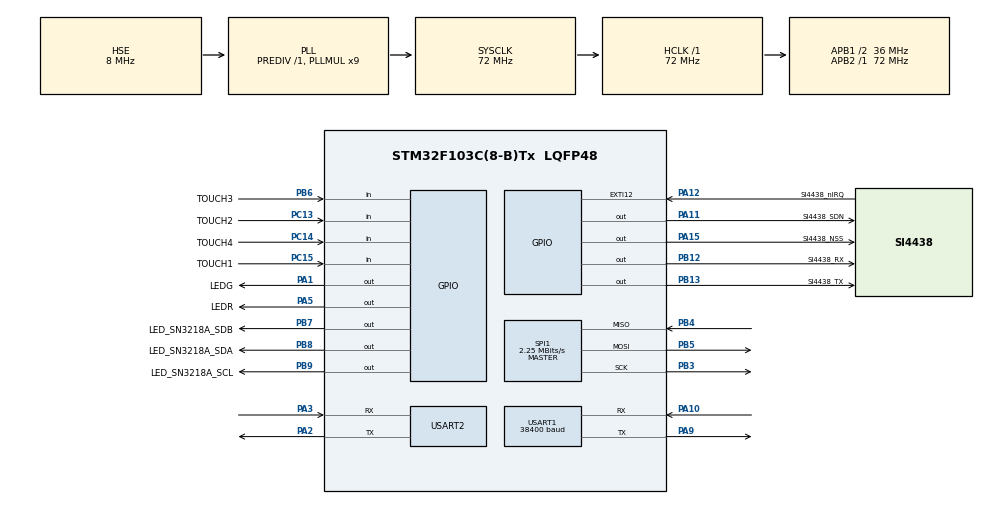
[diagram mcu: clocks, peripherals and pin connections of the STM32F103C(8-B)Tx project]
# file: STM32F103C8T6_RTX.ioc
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FREERTOS.Tasks01=defaultTask,0,128,StartDefaultTask,Default,NULL
FREERTOS.configMAX_PRIORITIES=8
FREERTOS.configMINIMAL_STACK_SIZE=64
FREERTOS.configTOTAL_HEAP_SIZE=10640
IWDG.Prescaler=IWDG_PRESCALER_32
IWDG.Reload=4000
Mcu.Family=STM32F1
Mcu.Name=STM32F103C(8-B)Tx
Mcu.Package=LQFP48
NVIC.EXTI15_10_IRQn=true\:6\:0\:true\:false\:true\:true\:true
NVIC.PriorityGroup=NVIC_PRIORITYGROUP_4
NVIC.TIM1_UP_IRQn=true\:9\:0\:true\:false\:true\:true\:true
NVIC.USART1_IRQn=true\:8\:0\:true\:false\:true\:true\:true
NVIC.USART2_IRQn=true\:7\:0\:true\:false\:true\:true\:true
PA1.GPIO_Label=LEDG
PA1.Signal=GPIO_Output
PA10.Mode=Asynchronous
PA10.Signal=USART1_RX
PA11.GPIO_Label=SI4438_SDN
PA11.Signal=GPIO_Output
PA12.GPIO_Label=SI4438_nIRQ
PA12.GPIO_ModeDefaultEXTI=GPIO_MODE_IT_FALLING
PA12.Signal=GPXTI12
PA13.Mode=Serial_Wire
PA13.Signal=SYS_JTMS-SWDIO
PA14.Mode=Serial_Wire
PA14.Signal=SYS_JTCK-SWCLK
PA15.GPIO_Label=SI4438_NSS
PA15.Signal=GPIO_Output
PA2.Mode=Asynchronous
PA2.Signal=USART2_TX
PA3.Mode=Asynchronous
PA3.Signal=USART2_RX
PA5.GPIO_Label=LEDR
PA5.Signal=GPIO_Output
PA9.Mode=Asynchronous
PA9.Signal=USART1_TX
PB12.GPIO_Label=SI4438_RX
PB12.Signal=GPIO_Output
PB13.GPIO_Label=SI4438_TX
PB13.Signal=GPIO_Output
PB3.Mode=Full_Duplex_Master
PB3.Signal=SPI1_SCK
PB4.Mode=Full_Duplex_Master
PB4.Signal=SPI1_MISO
PB5.Mode=Full_Duplex_Master
PB5.Signal=SPI1_MOSI
PB6.GPIO_Label=TOUCH3
PB6.Signal=GPIO_Input
PB7.GPIO_Label=LED_SN3218A_SDB
PB7.GPIO_Speed=GPIO_SPEED_FREQ_HIGH
PB7.Signal=GPIO_Output
PB8.GPIO_Label=LED_SN3218A_SDA
PB8.GPIO_Speed=GPIO_SPEED_FREQ_HIGH
PB8.Signal=GPIO_Output
PB9.GPIO_Label=LED_SN3218A_SCL
PB9.GPIO_Speed=GPIO_SPEED_FREQ_HIGH
PB9.Signal=GPIO_Output
PC13-TAMPER-RTC.GPIO_Label=TOUCH2
PC13-TAMPER-RTC.Signal=GPIO_Input
PC14-OSC32_IN.GPIO_Label=TOUCH4
PC14-OSC32_IN.Signal=GPIO_Input
PC15-OSC32_OUT.GPIO_Label=TOUCH1
PC15-OSC32_OUT.Signal=GPIO_Input
PD0-OSC_IN.Mode=HSE-External-Oscillator
PD0-OSC_IN.Signal=RCC_OSC_IN
PD1-OSC_OUT.Mode=HSE-External-Oscillator
PD1-OSC_OUT.Signal=RCC_OSC_OUT
ProjectManager.HeapSize=0x200
ProjectManager.StackSize=0x400
ProjectManager.TargetToolchain=MDK-ARM V5
RCC.AHBFreq_Value=72000000
RCC.APB1CLKDivider=RCC_HCLK_DIV2
RCC.APB1Freq_Value=36000000
RCC.APB1TimFreq_Value=72000000
RCC.APB2Freq_Value=72000000
RCC.APB2TimFreq_Value=72000000
RCC.HCLKFreq_Value=72000000
RCC.PLLMUL=RCC_PLL_MUL9
RCC.PLLSourceVirtual=RCC_PLLSOURCE_HSE
RCC.SYSCLKFreq_VALUE=72000000
RCC.SYSCLKSource=RCC_SYSCLKSOURCE_PLLCLK
RCC.USBFreq_Value=72000000
SPI1.BaudRatePrescaler=SPI_BAUDRATEPRESCALER_32
SPI1.CalculateBaudRate=2.25 MBits/s
SPI1.Direction=SPI_DIRECTION_2LINES
SPI1.Mode=SPI_MODE_MASTER
SPI1.VirtualType=VM_MASTER
TIM1.Period=1000-1
TIM1.Prescaler=72-1
USART1.BaudRate=38400
USART1.VirtualMode=VM_ASYNC
USART2.VirtualMode=VM_ASYNC
VP_FREERTOS_VS_ENABLE.Mode=Enabled
VP_IWDG_VS_IWDG.Mode=IWDG_Activate
VP_TIM1_VS_ClockSourceINT.Mode=Internal
board=custom

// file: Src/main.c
/**
  ******************************************************************************
  * @file           : main.c
  * @brief          : Main program body
  ******************************************************************************
  * This notice applies to any and all portions of this file
  * that are not between comment pairs USER CODE BEGIN and
  * USER CODE END. Other portions of this file, whether
  * inserted by the user or by software development tools
  * are owned by their respective copyright owners.
  *
  * Copyright (c) 2018 STMicroelectronics International N.V.
  * All rights reserved.
  *
  * Redistribution and use in source and binary forms, with or without
  * modification, are permitted, provided that the following conditions are met:
  *
  * 1. Redistribution of source code must retain the above copyright notice,
  *    this list of conditions and the following disclaimer.
  * 2. Redistributions in binary form must reproduce the above copyright notice,
  *    this list of conditions and the following disclaimer in the documentation
  *    and/or other materials provided with the distribution.
  * 3. Neither the name of STMicroelectronics nor the names of other
  *    contributors to this software may be used to endorse or promote products
  *    derived from this software without specific written permission.
  * 4. This software, including modifications and/or derivative works of this
  *    software, must execute solely and exclusively on microcontroller or
  *    microprocessor devices manufactured by or for STMicroelectronics.
  * 5. Redistribution and use of this software other than as permitted under
  *    this license is void and will automatically terminate your rights under
  *    this license.
  *
  * THIS SOFTWARE IS PROVIDED BY STMICROELECTRONICS AND CONTRIBUTORS "AS IS"
  * AND ANY EXPRESS, IMPLIED OR STATUTORY WARRANTIES, INCLUDING, BUT NOT
  * LIMITED TO, THE IMPLIED WARRANTIES OF MERCHANTABILITY, FITNESS FOR A
  * PARTICULAR PURPOSE AND NON-INFRINGEMENT OF THIRD PARTY INTELLECTUAL PROPERTY
  * RIGHTS ARE DISCLAIMED TO THE FULLEST EXTENT PERMITTED BY LAW. IN NO EVENT
  * SHALL STMICROELECTRONICS OR CONTRIBUTORS BE LIABLE FOR ANY DIRECT, INDIRECT,
  * INCIDENTAL, SPECIAL, EXEMPLARY, OR CONSEQUENTIAL DAMAGES (INCLUDING, BUT NOT
  * LIMITED TO, PROCUREMENT OF SUBSTITUTE GOODS OR SERVICES; LOSS OF USE, DATA,
  * OR PROFITS; OR BUSINESS INTERRUPTION) HOWEVER CAUSED AND ON ANY THEORY OF
  * LIABILITY, WHETHER IN CONTRACT, STRICT LIABILITY, OR TORT (INCLUDING
  * NEGLIGENCE OR OTHERWISE) ARISING IN ANY WAY OUT OF THE USE OF THIS SOFTWARE,
  * EVEN IF ADVISED OF THE POSSIBILITY OF SUCH DAMAGE.
  *
  ******************************************************************************
  */
#include "main.h"
#include "stm32f1xx_hal.h"
#include "cmsis_os.h"

/* USER CODE BEGIN Includes */
#include "taskApp.h"
#include "delay.h"
#include "user_call_back.h"
#include "wireless_app.h"
#include "wireless_drv.h"
#include "uart.h"
#include "stmflash.h"
#include "led.h"
#include "frame_process.h"
#include "stm32f0_eeprom.h"
#include "aes.h"
/* USER CODE END Includes */

IWDG_HandleTypeDef hiwdg;

SPI_HandleTypeDef hspi1;

TIM_HandleTypeDef htim1;

UART_HandleTypeDef huart1;
UART_HandleTypeDef huart2;

osThreadId defaultTaskHandle;

/* USER CODE BEGIN PV */
/* Private variables ---------------------------------------------------------*/
DES_DEVICE_t desDevice[224];   //目标设备路径，224个设备
//uint8_t deviceNum = 0;         //已经配网的设备个数
//uint8_t deviceBuff[224] = {0}; //224个设备

/* USER CODE END PV */

void SystemClock_Config(void);
static void MX_GPIO_Init(void);
static void MX_USART1_UART_Init(void);
static void MX_USART2_UART_Init(void);
static void MX_SPI1_Init(void);
static void MX_TIM1_Init(void);
static void MX_IWDG_Init(void);
void StartDefaultTask(void const * argument);

/* USER CODE BEGIN PFP */
/* Private function prototypes -----------------------------------------------*/

/* USER CODE END PFP */

/* USER CODE BEGIN 0 */
uint8_t uart1_rec;
uint8_t uart2_rec;

//ROUTER_BROTHER_RSSI_t brother_node[256];

extern osThreadId LedTaskHandle;
extern void MacFrame_Process(UpCom_Rx_TypDef *p_source);
extern uint8_t SecretKey_Process(DeviceInfo_t *p_deviceInfo);
extern osThreadId UartTaskHandle;
extern QueueHandle_t xQueue1;
extern void DevicePathSaveDes(uint8_t srcAddr, uint8_t *routerTab, uint8_t routerLen);
extern uint8_t FrameRouterCompose(
    uint8_t desAddr,
    uint8_t *srcData,
    uint8_t srcLen,
    uint8_t *outData,
    uint8_t *routerTab,
    uint8_t routerLen);

//根据家庭组切换到新的固定通讯频道上
#ifdef Use_Rx_Hop
void Get_WireLessChannel(uint8_t *wire_chnel)
{
    uint32_t temp_val = LANGroup_Addr[0] + LANGroup_Addr[1] + LANGroup_Addr[2];

    //uint32_t temp_val = 0x00 + 0x29 + 0x02;
    //uint32_t temp_val = 0x00 + 0x2A + 0x5B;
    //temp_val = 0x00 + 0x2A + 0x50;
    if (temp_val == 0)
    {
        wire_chnel[0] = Default_Channel;
        wire_chnel[1] = Default_Channel;
    }
    else
    {
        wire_chnel[0] = (temp_val & 0x1f) << 1; //共32个信道组，每个信道组有两个信道
        wire_chnel[1] = wire_chnel[0] + 1;
        if (wire_chnel[0] == Default_Channel)
        {
            wire_chnel[0] = wire_chnel[0] + 2;
            wire_chnel[1] = wire_chnel[0] + 1;
        }
    }

    RF_RX_HOP_CONTROL_12[7] = Channel_Frequency_Index[wire_chnel[0]]; //放入群组的主频道
    RF_RX_HOP_CONTROL_12[8] = Channel_Frequency_Index[wire_chnel[1]]; //放入群组的备用频道
}
#else
void Get_WireLessChannel(uint8_t *wire_chnel)
{
    wire_chnel[0] = Default_Channel;
    wire_chnel[1] = Default_Channel;
}
#endif

//扩展板自身应答给安卓板
void FrameCmdLocalAck(FRAME_CMD_t *frameCmd, uint8_t *ack_content, uint8_t content_len)
{
    FRAME_CMD_t frameAck;
    uint8_t frameLen;

    memcpy((uint8_t *)&frameAck, (uint8_t *)frameCmd, 16);
    frameAck.addr_DA = 0xFF;
    frameAck.addr_GA[0] = 0xFF;
    frameAck.addr_GA[1] = 0xFF;
    frameAck.addr_GA[2] = 0xFF;
    frameAck.Ctrl.dir = 1;
    if (content_len > 0)
    {
        frameAck.DataLen = content_len + 4;
        memcpy(frameAck.userData.content, ack_content, content_len);
    }
    else
    {
        frameAck.DataLen = 0;
    }

    frameLen = Frame_Compose((uint8_t *)&frameAck);

    UartSendBytes(USART1, (uint8_t *)&frameAck, frameLen);
}
//判断是否符合帧协议
//返回1正确，0错误
uint8_t FrameRouterDetect(uint8_t *rx_buff)
{
    FRAME_ROUTER_CMD_t *frameData = (FRAME_ROUTER_CMD_t *)rx_buff; //通信帧数据结构
    uint16_t crc_16;
    uint8_t crc16_h;
    uint8_t crc16_l;
    //判断帧头
    if ((frameData->head_h != 0x69) || (frameData->head_l != 0x69))
    {
        return 0;
    }
    //FrameData_74Convert()
    //判断长度是否正确
    if ((frameData->len + frameData->len_c) != 0xff)
    {
        return 0;
    }

    crc_16 = CRC16_2(&frameData->head_h, frameData->len);
    crc16_h = (uint8_t)(crc_16 >> 8);
    crc16_l = (uint8_t)(crc_16 & 0x00ff);

    if ((rx_buff[frameData->len] != crc16_h) || (rx_buff[frameData->len + 1] != crc16_l))
    {
        return 0;
    }
    return 1;
}

//判断是否为0xAC开头，0x53结尾的协议帧
uint8_t Frame1Detect(uint8_t *rx_buff,uint8_t rx_len)
{
//	FRAME_CMD_t *frameData = (FRAME_CMD_t *)rx_buff; //通信帧数据结构
//  uint16_t crc_16;
//  uint8_t crc16_h;
//  uint8_t crc16_l;
    //判断帧头
    if (rx_buff[0] != 0xAC)
    {
        return 0;
    }
    //判断帧结束字符
    if(rx_buff[rx_len-1] != 0x53)
    {
        return 0;
    }
    return 1;
}

//选择是否通过中继到目标设备
//如果路径有变化，需要保持，返回1
uint8_t RouterPahtSelcte(uint8_t des, uint8_t node, uint8_t rssi)
{
    uint8_t des_index, node_index;

    des_index = des - DEVICE_INDEX_OFFSET; //算出源地址所在的存储位置
    node_index = node - DEVICE_INDEX_OFFSET;
    if ((desDevice[des_index].des_rssi < 50) && (rssi >= 50)) //目标设备到扩展板的信号质量弱，并且目标设备到中继的信号比较强
    {

        if (desDevice[des_index].des_rssi < desDevice[node_index].des_rssi) //两个设备到扩展板的信号值比较
        {
            desDevice[des_index].path1.len = 1;
            desDevice[des_index].path1.addr[0] = node;
            return 1;
        }
    }
    return 0;
}

//判断是否为有效设备
uint8_t DeviceIsExit(uint8_t device_addr)
{
    uint8_t i;
    for(i=0; i<deviceInfo.deviceNum; i++)
    {
        if(device_addr == deviceInfo.deviceBuff[i])
        {
            return 1;
        }
    }
    return 0;
}

//路由协议帧数据处理，主要针对无线和电力线载波
extern RETRY_WAITE_FOR_t retryWaiteFor;
extern osThreadId RetryTaskHandle; //等待应答重新发起命令的任务
extern osThreadId NetCreateTaskHandle;
extern osThreadId SuperviseTaskHandle;
extern uint8_t const Set_LogicAddr_Id[3];

void FrameRouterDataProcess(uint8_t *rx_buff, uint8_t rx_len)
{

    FRAME_ROUTER_SLAVE_CMD_t *frameData = (FRAME_ROUTER_SLAVE_CMD_t *)rx_buff; //通信帧数据结构
    FRAME_CMD_t *userFrame;                                                    //应用命令帧指针
    ROUTER_TAB_ACK_t routerTabAck;

    uint8_t indexType; // = frameCmd->userData.Index[0];
    uint16_t indexCmd; // = (frameCmd->userData.Index[1] << 8) + frameCmd->userData.Index[2];
    uint8_t srcAddr;
    uint8_t deviceIndex = 0; //设备位置索引

    QUEUE_WIRELESS_SEND_t queue_wireless_send;

    if((frameData->len/2) <= 70)
    {
        FrameRouteData_74Convert((FRAME_ROUTER_CMD_t*)rx_buff,rx_len,&rx_len,0);
    }

    if (frameData->ctrl.dir == 1) //从站发来的数据
    {
        if (memcmp(frameData->des_addr, &deviceInfo.mac[4], 3) == 0)
        {
            if (frameData->ctrl.heat == 1) //心跳帧
            {
                if (frameData->router_len == frameData->routerNum.index) //当前路由级数==路由总长度，说明是源地址发出来的数据
                {

                    deviceIndex = frameData->src_addr - DEVICE_INDEX_OFFSET;            //算出源地址所在的存储位置
                    desDevice[deviceIndex].des_rssi = Wireless_Buf.Wireless_RSSI_Value; //缓存目的地址的信号强度值
                    if ((desDevice[deviceIndex].des_rssi >= 50)&&(desDevice[deviceIndex].path1.len>0))                          //说明目的设备的到扩展板的信号良好
                    {
                        desDevice[deviceIndex].path1.len = 0;                                                       //直接去掉路由
                        STMFLASH_Write(DEVICE_ROUTER_TAB_ADDR, (uint16_t *)desDevice, (sizeof(desDevice) + 1) / 2); //+1和/2是为了2字节对齐
                    }
                }
            }

            if (frameData->routerNum.index == 0)
            {
                if (frameData->ctrl.heat == 0) //通信帧
                {
                    userFrame = (FRAME_CMD_t *)&rx_buff[13 + frameData->router_len];
                    if ((userFrame->Ctrl.dir == 1) && ((memcmp(userFrame->addr_GA, LANGroup_Addr, 3) == 0))) //从站，是自己的群组
                    {
                        memcpy(routerTabAck.table, &rx_buff[13], frameData->router_len);
                        routerTabAck.len = frameData->router_len;
                        srcAddr = frameData->src_addr;

                        if (retryWaiteFor.frameNum == userFrame->FSQ.frameNum)
                        {
                            retryWaiteFor.retryCnt = 0; //清除重复发生缓存的长度，不再重发数据
                            retryWaiteFor.flag = 0;
                            xTaskNotify(RetryTaskHandle, (1ul << 1), eSetValueWithOverwrite);
                        }

                        Wireless_Buf.Wireless_PacketLength = rx_len - 17 - frameData->router_len;
                        memcpy(rx_buff, userFrame, Wireless_Buf.Wireless_PacketLength);
                        userFrame = (FRAME_CMD_t *)rx_buff;

                        if (userFrame->FSQ.encryptType > 0) //带有加密数据帧
                        {
                            Wireless_Buf.Wireless_PacketLength = Encrypt_Convert(Wireless_Buf.Wireless_RxData, Wireless_Buf.Wireless_PacketLength, 1); //做解密给上位机
                        }

                        if (memcmp(userFrame->addr_GA, LANGroup_Addr, 3) == 0) //判断家庭组地址
                        {
                            if(memcmp(userFrame->userData.Index,Set_LogicAddr_Id,3)==0) // 配网
                            {
                                UpUart_DataTx(&userFrame->FameHead, userFrame->DataLen + 11, 0);
                            }
                            else
                            {
                                if(DeviceIsExit(userFrame->addr_DA) == 1)
                                {
                                    UpUart_DataTx(&userFrame->FameHead, userFrame->DataLen + 11, 0);
                                }
                            }
                        }

                        if (userFrame->Ctrl.eventFlag == 0) //普通帧
                        {
                            //xTaskNotify(UartTaskHandle, UART_TASK_EVNT_WIRELESS_ACK, eSetValueWithOverwrite); //通知串口任务,发送设备回应的无线数据到核心板串口

                            indexType = userFrame->userData.Index[0];
                            indexCmd = (userFrame->userData.Index[1] << 8) + userFrame->userData.Index[2];

                            switch (indexType)
                            {
                            case 0xFF:
                                switch (indexCmd)
                                {
                                case 0xFFFF:
                                    //printf("111111");
                                    DevicePathSaveDes(srcAddr, routerTabAck.table, routerTabAck.len);
                                    xTaskNotify(NetCreateTaskHandle, (1ul << 1), eSetValueWithOverwrite);
                                    break;
                                case 0xFFFE:
                                    //printf("222222");
                                    break;
                                default:
                                    break;
                                }
                                break;
                            case 0x00: //智能电器控制回应
                                switch (indexCmd)
                                {
                                case 0x0021:
                                    //printf("33333");
                                    break;
                                default:
                                    break;
                                }

                                break;
                            default:
                                break;
                            }
                        }
                        else //事件帧
                        {
                            userFrame->Ctrl.dir = 0;
                            userFrame->DataLen = 0;
                            if (userFrame->FSQ.encryptType > 0)
                            {
                                queue_wireless_send.len = Frame_Compose((uint8_t *)userFrame);
                                queue_wireless_send.len = Encrypt_Convert(&userFrame->FameHead, queue_wireless_send.len, 0); //加密
                            }

                            queue_wireless_send.len = FrameRouterCompose(userFrame->addr_DA,
                                                      &userFrame->FameHead,
                                                      userFrame->DataLen + 11,
                                                      queue_wireless_send.msg,
                                                      routerTabAck.table,
                                                      routerTabAck.len);

//							FrameRouteData_74Convert((FRAME_ROUTER_CMD_t*)queue_wireless_send.msg,queue_wireless_send.len,&queue_wireless_send.len,1);

                            queue_wireless_send.toCh = Wireless_Channel[0];

                            xQueueSend(xQueueWirelessTask, &queue_wireless_send, (TickType_t)10);
                            xQueueSend(xQueueAckRouterTable, &routerTabAck, (TickType_t)10);
                        }
                    }
                }
                else //心跳帧
                {
                    uint8_t des, node, rssi, i;
                    uint8_t effect_flag = 0;
                    if ((frameData->ctrl.dir == 1) && ((memcmp(frameData->netNum, &LANGroup_Addr[1], 2) == 0))) //从站，是自己的群组
                    {
                        xTaskNotify(SuperviseTaskHandle, (uint32_t)frameData->src_addr, eSetValueWithOverwrite);
                    }
                    queue_wireless_send.len = rx_len - 17 - frameData->router_len;

                    if (queue_wireless_send.len > 0) //存在邻近节点的信号强度值
                    {

                        node = frameData->src_addr;
                        for (i = 0; i < queue_wireless_send.len / 2; i++)
                        {
                            des = rx_buff[13 + frameData->router_len + (i * 2)];
                            rssi = rx_buff[13 + frameData->router_len + (i * 2) + 1];
                            effect_flag += RouterPahtSelcte(des, node, rssi);
                        }
                        if (effect_flag > 0) //保持路由表路径
                        {
                            STMFLASH_Write(DEVICE_ROUTER_TAB_ADDR, (uint16_t *)desDevice, (sizeof(desDevice) + 1) / 2); //+1和/2是为了2字节对齐
                        }
                    }

                }
            }
        }
    }
    else
    {
    }
}

//0xAC开头的协议帧处理
void Frame1DataProcess(uint8_t *rx_buff, uint8_t rx_len)
{
	uint8_t i;
	uint8_t exist = 0;
    uint8_t out_len;
    uint8_t indexType;
    uint16_t indexCmd;
    FRAME_CMD_t *userFrame = (FRAME_CMD_t *)rx_buff;
    QUEUE_WIRELESS_SEND_t queue_wireless_send;

    if(userFrame->Ctrl.c_AFN == 0)
    {
		if(userFrame->DataLen < 100)
		{
			FrameData_74Convert((FRAME_CMD_t*)rx_buff,rx_len,&out_len,0); //解码
		}

        rx_len = out_len;		//解码后长度
    }

    if (userFrame->FSQ.encryptType > 0) //带有加密数据帧
    {
        Wireless_Buf.Wireless_PacketLength = Encrypt_Convert(rx_buff, rx_len, 1); //做解密给上位机
    }
    if (memcmp(userFrame->addr_GA, LANGroup_Addr, 3) == 0) //判断家庭组地址
    {

        out_len = Frame_Compose(&userFrame->FameHead);

        if((DeviceIsExit(userFrame->addr_DA) == 1)||                 //已经配网设备
			(memcmp(userFrame->userData.Index,Set_LogicAddr_Id,3)==0)) // 配网
        {
            UpUart_DataTx(&userFrame->FameHead, out_len, 0);
        }

        if (userFrame->Ctrl.eventFlag == 0) //普通帧
        {
            if (retryWaiteFor.frameNum == userFrame->FSQ.frameNum)
            {
                retryWaiteFor.retryCnt = 0; //清除重复发生缓存的长度，不再重发数据
                retryWaiteFor.flag = 0;
                xTaskNotify(RetryTaskHandle, (1ul << 1), eSetValueWithOverwrite);
            }

            indexType = userFrame->userData.Index[0];
            indexCmd = (userFrame->userData.Index[1] << 8) + userFrame->userData.Index[2];
            switch (indexType)
            {
            case 0xFF:
                if( indexCmd == 0xFFFF)
                {
					if(userFrame->Ctrl.dir == 1)       //从站回来的数据
					{
						for(i=0;i<100;i++)
						{
							if(oldDevice.buff[i] == userFrame->addr_DA)		//设备已经存在
							{
								exist = 1;
								break;
							}
						}
						if(exist == 0)
						{
							oldDevice.buff[oldDevice.num] = userFrame->addr_DA;
							oldDevice.num ++;
							STMFLASH_Write(OLD_DEVICE_ADDR, (uint16_t *)&oldDevice, (sizeof(OldDevice_t) + 1) / 2); //+1和/2是为了2字节对齐
						}

						xTaskNotify(NetCreateTaskHandle, (1ul << 1), eSetValueWithOverwrite);
					}
                }
                break;
            default:
                break;
            }
        }
        else   //事件帧
        {
            userFrame->Ctrl.dir = 0;
            userFrame->DataLen = 0;
			userFrame->Ctrl.c_AFN = 0;		//编码
			queue_wireless_send.len = Frame_Compose((uint8_t *)userFrame);
            if (userFrame->FSQ.encryptType > 0)
            {
                queue_wireless_send.len = Encrypt_Convert(&userFrame->FameHead, queue_wireless_send.len, 0); //加密
            }

            memcpy(queue_wireless_send.msg,&userFrame->FameHead,queue_wireless_send.len);

            queue_wireless_send.toCh = Wireless_Channel[0];

            xQueueSend(xQueueWirelessTask, &queue_wireless_send, (TickType_t)10);
        }
    }
}

/****************************************************************
功能说明：得到串口的应用层数据帧后，针对控制通信，形成新的一帧数据
参数:
** @desAddr 要控制设备的逻辑地址
** @srcData  应用成数据
** @srcLen   应用数据长度
** @routerTab 要插入的路由表
** @routerLen 插入路由表的长度
返回值：新一帧数据的总长度
****************************************************************/
uint8_t FrameRouterCompose(
    uint8_t desAddr,
    uint8_t *srcData,
    uint8_t srcLen,
    uint8_t *outData,
    uint8_t *routerTab,
    uint8_t routerLen)
{
    //uint8_t temp[256] = {0};
    FRAME_ROUTER_MASTER_CMD_t *p = (FRAME_ROUTER_MASTER_CMD_t *)outData;

    uint16_t crc_16;
    uint8_t out_frameLen;

    out_frameLen = srcLen + routerLen + 13;
    memset(outData, 0x00, out_frameLen + 4);

    p->head_h = 0x69;
    p->head_l = 0x69;

    p->len = srcLen + routerLen + 13;
    p->len_c = ~(p->len);
    p->ctrl.mode = 0;
    p->ctrl.type = 1;
    p->netNum[0] = deviceInfo.addr_GA[1];
    p->netNum[1] = deviceInfo.addr_GA[2];
    p->des_addr = desAddr;
    memcpy(p->src_addr, &deviceInfo.mac[4], 3); //扩展板的地址
    p->routerNum.index = routerLen;             //路由当前级数 等于长度
    p->routerNum.type = 0xF;
    p->router_len = routerLen;                      //路由表长度
    memcpy(&outData[13], routerTab, p->router_len); //路由表数据
    memcpy(&outData[13 + p->router_len], srcData, srcLen);
    crc_16 = CRC16_2(outData, p->len);
    outData[p->len] = crc_16 >> 8;
    outData[p->len + 1] = crc_16 & 0x00ff;
    outData[p->len + 2] = 0x96;
    outData[p->len + 3] = 0x96;
    //memcpy(srcData, outData, p->len + 4);
    return p->len + 4;
}

/****************************************************************
功能说明：得到串口的应用层数据帧后，针对控制通信，形成新的一帧数据
参数:
** @desAddr 要控制设备的逻辑地址
** @srcData  应用成数据
** @srcLen   应用数据长度
** @routerTab 要插入的路由表
** @routerLen 插入路由表的长度
返回值：新一帧数据的总长度
****************************************************************/
uint8_t FrameRouterHeart(
    uint8_t desAddr,
    uint8_t *srcData,
    uint8_t srcLen,
    uint8_t *outData,
    uint8_t *routerTab,
    uint8_t routerLen)
{

    FRAME_ROUTER_MASTER_CMD_t *p = (FRAME_ROUTER_MASTER_CMD_t *)outData;

    uint16_t crc_16;
    uint8_t out_frameLen;

    out_frameLen = srcLen + routerLen + 13;
    memset(outData, 0x00, out_frameLen + 4);

    p->head_h = 0x69;
    p->head_l = 0x69;

    p->len = out_frameLen;
    p->len_c = ~(p->len);

    p->ctrl.mode = 0;
    p->ctrl.type = 1;
    p->ctrl.heat = 1;
    p->netNum[0] = deviceInfo.addr_GA[1];
    p->netNum[1] = deviceInfo.addr_GA[2];
    p->des_addr = desAddr;
    memcpy(p->src_addr, &deviceInfo.mac[4], 3); //扩展板的地址
    p->routerNum.index = routerLen;             //路由当前级数 等于长度
    p->routerNum.type = 0xF;
    p->router_len = routerLen;                      //路由表长度
    memcpy(&outData[13], routerTab, p->router_len); //路由表数据
    memcpy(&outData[13 + p->router_len], srcData, srcLen);
    crc_16 = CRC16_2(outData, p->len);
    outData[p->len] = crc_16 >> 8;
    outData[p->len + 1] = crc_16 & 0x00ff;
    outData[p->len + 2] = 0x96;
    outData[p->len + 3] = 0x96;

    return p->len + 4;
}

/****************************************************************
功能说明：得到串口的应用层数据帧后，针对配网，形成新的一帧数据
参数:
** @desAddrMAC 要配网设备的MAC地址
** @srcData  应用成数据
** @srcLen   应用数据长度
** @routerTab 要插入的路由表
** @routerLen 插入路由表的长度
**@outData 输出数据
返回值：新一帧数据的总长度
****************************************************************/
uint8_t FrameRouterCompose_ext(uint8_t *desAddrMAC,
                               uint8_t *srcData,
                               uint8_t srcLen,
                               uint8_t *outData,
                               uint8_t *routerTab,
                               uint8_t routerLen)
{
    uint8_t temp[256] = {0};
    FRAME_ROUTER_MASTER_EXT_CMD_t *p = (FRAME_ROUTER_MASTER_EXT_CMD_t *)temp;
    uint16_t crc_16;

    p->head_h = 0x69;
    p->head_l = 0x69;

    p->len = srcLen + routerLen + 20;
    p->len_c = ~(p->len);
    p->ctrl.mode = 0;
    p->ctrl.type = 0;
    p->netNum[0] = deviceInfo.addr_GA[1];
    p->netNum[1] = deviceInfo.addr_GA[2];
    memcpy(p->des_addr, desAddrMAC, 8);
    memcpy(p->src_addr, &deviceInfo.mac[4], 3); //扩展板的地址

    p->routerNum.index = routerLen; //路由当前级数
    p->routerNum.type = 0xF;
    p->router_len = routerLen;                   //路由表长度
    memcpy(&temp[20], routerTab, p->router_len); //路由表数据
    memcpy(&temp[20 + p->router_len], srcData, srcLen);
    crc_16 = CRC16_2(temp, p->len);
    temp[p->len] = crc_16 >> 8;
    temp[p->len + 1] = crc_16 & 0x00ff;
    temp[p->len + 2] = 0x96;
    temp[p->len + 3] = 0x96;
    memcpy(outData, temp, p->len + 4);
    return p->len + 4;
}

//判断设备是否为旧设备
uint8_t DeviceVsnJudge(uint8_t des_device,uint8_t *device_buff,uint8_t device_num)
{
    uint8_t i = 0;
    for(i=0; i<device_num; i++)
    {
        if(device_buff[i] == des_device)	//说明是旧版本
        {
            return 1;
        }
    }
    return 0;
}

//清除不在设备列表中的多余设备地址
void OldDeviceRef(OldDevice_t *p_OldDevice,uint8_t *deviceBuff)
{

    uint8_t i,j;

    for(j=0; j<p_OldDevice->num; j++)
    {
        for(i=0; i<deviceInfo.deviceNum; i++)
        {
            if(p_OldDevice->buff[j] == deviceBuff[i])
            {
                break;
            }
        }
        if(i == deviceInfo.deviceNum)
        {
            memcpy(&p_OldDevice->buff[j],&p_OldDevice->buff[j+1],p_OldDevice->num-j);
            p_OldDevice->num--;
        }
    }
}
//本地命令处理
void Local_CmdProcess(FRAME_CMD_t *frameCmd)
{
    uint8_t indexType = frameCmd->userData.Index[0];
    uint16_t indexCmd = (frameCmd->userData.Index[1] << 8) + frameCmd->userData.Index[2];
    WRITE_AES_CMD_t *p_write_cmd = (WRITE_AES_CMD_t *)frameCmd->userData.content;
    uint8_t temp[10] = {0};

    switch (indexType)
    {
    case 0xFF: //初始化数据
        switch (indexCmd)
        {
        case 0x0001: //读软件版本号
            temp[0] = Version_Number >> 8;
            temp[1] = Version_Number & 0xff;
            FrameCmdLocalAck(frameCmd, temp, 2);
            break;
        case 0xFF00: //写群组地址和密钥
            memcpy(deviceInfo.addr_GA, p_write_cmd->addr_GA, 3);
            memcpy(deviceInfo.aes, p_write_cmd->aes, 16);
            STMFLASH_Write(DEVICE_INFO_BASH_ADDR, (uint16_t *)&deviceInfo, (sizeof(deviceInfo) + 1) / 2); //+1和/2是为了2字节对齐
            SecretKey_Process(&deviceInfo);                                                               //计算出密文，存放在aes_w，供加解密用
            FrameCmdLocalAck(frameCmd, 0, 0);
            break;
        case 0xFFFE:
            vTaskSuspendAll(); //开启任务调度锁
            memset(deviceInfo.deviceBuff, 0x00, deviceInfo.deviceNum);
            deviceInfo.deviceNum = frameCmd->DataLen - 4;
            memcpy(deviceInfo.deviceBuff, frameCmd->userData.content, deviceInfo.deviceNum);
            STMFLASH_Write(DEVICE_INFO_BASH_ADDR, (uint16_t *)&deviceInfo, (sizeof(deviceInfo) + 1) / 2);
            xTaskResumeAll(); //关闭任务调度锁

            OldDeviceRef(&oldDevice,deviceInfo.deviceBuff);

            FrameCmdLocalAck(frameCmd, 0, 0);
            break;
        default:
            FrameCmdLocalAck(frameCmd, 0, 0);
            break;
        }
        break;
    case 0x00:
		switch (indexCmd)
        {
		case 0x0000:
			FrameCmdLocalAck(frameCmd, deviceInfo.mac, 8);
			break;
		default:
            FrameCmdLocalAck(frameCmd, 0, 0);
            break;
		}
		break;
    case 0x01:
        switch (indexCmd)
        {
        case 0x0021:
            //xTaskNotify(LedTaskHandle, frameCmd->userData.content[0], eSetValueWithOverwrite);
            xQueueSend(xQueueVol, &frameCmd->userData.content[0], (TickType_t)10);
            FrameCmdLocalAck(frameCmd, 0, 0);
            break;
        default:
            FrameCmdLocalAck(frameCmd, 0, 0);
            break;
        }
        break;
    case 0x02:
        break;
    case 0x03:
        break;
    case 0x04:
        break;
    default:
        FrameCmdLocalAck(frameCmd, 0, 0);
        break;
    }
}

extern RETRY_WAITE_FOR_t retryWaiteFor;

//串口接收处理
void UartRx_Process(UpCom_Rx_TypDef *prx_ubuf, DevicePara_TypDef *p_device)
{
    FRAME_CMD_t *frameCmd;
    uint8_t send_len;
    frameCmd = (FRAME_CMD_t *)prx_ubuf->Frame_Data;

    //	BaseType_t xResult;
    //const TickType_t xMaxBlockTime = pdMS_TO_TICKS(1000); //10ms
    ///    uint32_t ulValue;
    ///    uint16_t keyValue;
    extern uint8_t const Set_LogicAddr_Id[3];
    extern osThreadId RetryTaskHandle;
    QUEUE_WIRELESS_SEND_t queue_temp;
    uint8_t routerTab[10] = {0x8A};
    uint8_t routerIndex = 0;
    uint8_t routerLen = 0;
    uint8_t i;
    //uint8_t send_temp[256]={0};
    QUEUE_WIRELESS_SEND_t queue_wireless_send;
    //memset(&queue_wireless_send,0x00,sizeof(QUEUE_WIRELESS_SEND_t)) ;
    if (prx_ubuf->Rx_Status == UartRx_Finished)
    {
        if (0 == FrameData_Detect(prx_ubuf->Frame_Data, prx_ubuf->FrameTotalLen))
        {
            if (frameCmd->FameHead == HKFreamHeader)
            {
                if (frameCmd->Ctrl.dir == 0) //主站（安卓版）下行数据
                {
                    currentFrameNum = frameCmd->FSQ.frameNum;
                    if (frameCmd->Ctrl.relayFlag == 0) //本地（发给扩展板）
                    {
                        if (frameCmd->Ctrl.eventFlag == 0) //命令
                        {
                            Local_CmdProcess(frameCmd);
                        }
                        else if (frameCmd->Ctrl.eventFlag == 1) //事件(应答)
                        {
                        }
                    }
                    else if (frameCmd->Ctrl.relayFlag == 1) //转发（发给电器设备）
                    {
                        if (frameCmd->Ctrl.eventFlag == 0) //命令
                        {
                            retryWaiteFor.frameNum = frameCmd->FSQ.frameNum;          //记录重发的帧序号
                            memcpy(retryWaiteFor.index, frameCmd->userData.Index, 3); //记录重发的帧数据标识
                            retryWaiteFor.retryCnt = 3;
                            retryWaiteFor.flag = 1;

                            FrameCmdLocalAck(frameCmd, 0, 0); //应答给核心板的串口数据
                            if (frameCmd->FSQ.encryptType)    //加密
                            {
                                send_len = Encrypt_Convert((uint8_t *)frameCmd, frameCmd->DataLen + 11, 0);
                            }
                            else //不加密
                            {
                                send_len = frameCmd->DataLen + 11;
                            }
                            prx_ubuf->FrameTotalLen = send_len;
                            JOINE_NET_CMD_t *joine_cmd = (JOINE_NET_CMD_t *)frameCmd->userData.content;

                            if (memcmp(frameCmd->userData.Index, Set_LogicAddr_Id, 3) == 0) //配网帧
                            {

                                queue_wireless_send.len = FrameRouterCompose_ext(joine_cmd->mac,
                                                          prx_ubuf->Frame_Data,
                                                          prx_ubuf->FrameTotalLen,
                                                          queue_wireless_send.msg,
                                                          0,
                                                          0);
                                queue_wireless_send.toCh = Default_Channel;

								if(IsLowPowerDevice(joine_cmd->mac[7])==1)
								{
									LowPowerDeviceInset(joine_cmd->mac[7],frameCmd->addr_DA);
									LowPowerDeviceWakeUp(Default_Channel);
									xQueueSend(xQueueWirelessTask, &queue_wireless_send, (TickType_t)10);			//直接发到无线发射任务
								}
								else
								{
									xQueueSend(xQueueWirelessTask, &queue_wireless_send, (TickType_t)10);			//直接发到无线发射任务
									osDelay(300);
									xQueueSend(xQueueNetCreateTask, prx_ubuf, (TickType_t)10);        //发到配网任务
								}

                            }
                            else //控制
                            {
                                routerIndex = frameCmd->addr_DA - DEVICE_INDEX_OFFSET;
                                routerLen = desDevice[routerIndex].path1.len;

                                for (i = 0; i < routerLen; i++)
                                {
                                    routerTab[i] = desDevice[routerIndex].path1.addr[i];
                                }

								if(LowPowerDeviceMach(frameCmd->addr_DA)==1)
								{
									LowPowerDeviceWakeUp(Wireless_Channel[0]);
									//LowPowerDeviceWakeUp(Default_Channel);
								}
                                if(DeviceVsnJudge(frameCmd->addr_DA,oldDevice.buff,oldDevice.num) == 1)   //是否为旧电器
                                {

                                    memcpy(queue_temp.msg, &frameCmd->FameHead, send_len);
                                    //FrameData_74Convert((FRAME_CMD_t*)queue_temp.msg,send_len,&send_len,1);

                                }
                                else
                                {
                                    send_len = FrameRouterCompose(frameCmd->addr_DA,
                                                                  prx_ubuf->Frame_Data,
                                                                  prx_ubuf->FrameTotalLen,
                                                                  queue_temp.msg,
                                                                  routerTab,
                                                                  routerLen);
//									FrameRouteData_74Convert((FRAME_ROUTER_CMD_t*)queue_temp.msg,send_len,&send_len,1);

                                }

                                queue_temp.toCh = Wireless_Channel[0];
                                queue_temp.len = send_len;

                                xQueueSend(xQueueWirelessRetryTask, &queue_temp, (TickType_t)10);
                            }
                        }
                        else if (frameCmd->Ctrl.eventFlag == 1) //事件(应答)
                        {
                        }
                    }
                }
            }
//      else if (frameCmd->FameHead == AESFreamHeader) //烧录MAC地址
//      {

//        MacFrame_Process(prx_ubuf);
//        memcpy(deviceInfo.mac, Local_MAC_Addr + 3, 8);
//        deviceInfo.mac_exist = 1;
//        STMFLASH_Write(DEVICE_INFO_BASH_ADDR, (uint16_t *)&deviceInfo, (sizeof(deviceInfo) + 1) / 2);
//      }
        }

        prx_ubuf->Rx_Status = UartRx_FrameHead;
    }
}

//配网成功后记录目标路径
void DevicePathSaveDes(uint8_t srcAddr, uint8_t *routerTab, uint8_t routerLen)
{
    uint8_t i = 0;
    uint8_t index = 0;
    if ((srcAddr < DEVICE_INDEX_OFFSET) || (srcAddr == 0xFF))
        return; //检测入口参数

    index = srcAddr - DEVICE_INDEX_OFFSET;
    //	desDevice[index].des_addr =srcAddr;
    desDevice[index].path1.len = routerLen;
    for (i = 0; i < routerLen; i++)
    {
        desDevice[index].path1.addr[i] = routerTab[i];
    }
    STMFLASH_Write(DEVICE_ROUTER_TAB_ADDR, (uint16_t *)desDevice, (sizeof(desDevice) + 1) / 2); //+1和/2是为了2字节对齐
}

//读取路由表
void DegicePathInit(void)
{
    STMFLASH_Read(DEVICE_ROUTER_TAB_ADDR, (uint16_t *)desDevice, (sizeof(desDevice) + 1) / 2); //+1和/2是为了2字节对齐
    //if(desDevice[0].des_addr == 0xFF)
    if ((desDevice[0].des_rssi == 0xFF) && (desDevice[1].des_rssi == 0xFF))
    {
        memset(desDevice, 0x00, sizeof(desDevice));
        STMFLASH_Write(DEVICE_ROUTER_TAB_ADDR, (uint16_t *)desDevice, (sizeof(desDevice) + 1) / 2); //+1和/2是为了2字节对齐
    }
}

//
void WireLess_Process(WLS *p_wl, DevicePara_TypDef *p_device)
{

    if (FrameRouterDetect(p_wl->Wireless_RxData) == 1) //校验帧头和CRC16
    {

        FrameRouterDataProcess(p_wl->Wireless_RxData, p_wl->Wireless_PacketLength);
    }
    else if(Frame1Detect(p_wl->Wireless_RxData,p_wl->Wireless_PacketLength))
    {
        Frame1DataProcess(p_wl->Wireless_RxData, p_wl->Wireless_PacketLength);
    }
    else
    {
        Si4438_Receive_Start(Wireless_Channel[0]);
    }
    if (WIRELESS_STATUS == Wireless_Free)
    {
        Si4438_Receive_Start(Wireless_Channel[0]);
    }
}

void MacFrame_Process(UpCom_Rx_TypDef *p_source)
{
    uint16_t crc16_val;
    uint8_t send_buff[100];
    uint8_t i = 0;

    if(p_source->Rx_Status == UartRx_Finished)
    {
        if (p_source->Frame_Data[1] == MACWrite_Cmd_Request)
        {
            if (deviceInfo.mac_h != AESFreamHeader) //只能烧一次
            {
                memcpy(deviceInfo.mac,&p_source->Frame_Data[3],8);
                deviceInfo.mac_h = AESFreamHeader;
                STMFLASH_Write(DEVICE_INFO_BASH_ADDR, (uint16_t *)&deviceInfo, (sizeof(deviceInfo)+1)/2);
                STMFLASH_Read(DEVICE_INFO_BASH_ADDR, (uint16_t *)&deviceInfo,  (sizeof(deviceInfo)+1)/2);
                if (memcmp(deviceInfo.mac, &p_source->Frame_Data[3], 8) == 0)
                {
                    send_buff[1] = MACWrite_Yes_Response;
                    send_buff[3] = 0xff;
                }
                else
                {
                    deviceInfo.mac_h = 0;
                    STMFLASH_Write(DEVICE_INFO_BASH_ADDR, (uint16_t *)&deviceInfo, (sizeof(deviceInfo)+1)/2);
                    send_buff[1] = MACWrite_NO_Response;
                    send_buff[3] = 0x00;
                }
            }
            else
            {
                send_buff[1] = MACWrite_Yes_Response;
                send_buff[3] = 0xff;
            }
            send_buff[0] = AESFreamHeader;
            send_buff[2] = 1;
            crc16_val = CRC16_2(send_buff, 4);
            send_buff[4] = crc16_val >> 8;
            send_buff[5] = crc16_val & 0xff;

            for (i = 0; i < 6; i++)
            {
                UartSendData(USART1, send_buff[i]);
            }
        }
        p_source->Rx_Status = UartRx_FrameHead;
    }
}

uint8_t Remain_series;

void MacAddr_Read(void)
{
    uint32_t delay_cnt = 0;
    STMFLASH_Read(MAC_EAddr, (uint16_t *)Local_MAC_Addr, (MAC_Data_Len + 5 + 1) / 2);
    if((Local_MAC_Addr[0] == 0x68)&&(Local_MAC_Addr[0] == 0x20))    //旧版本保存了mac地址
    {
        memcpy(deviceInfo.mac,&Local_MAC_Addr[3],8);
        deviceInfo.mac_h = AESFreamHeader;
        STMFLASH_Write(DEVICE_INFO_BASH_ADDR, (uint16_t *)&deviceInfo, (sizeof(deviceInfo)+1)/2);
    }
    while(deviceInfo.mac_h != AESFreamHeader)
    {
        MacFrame_Process(&UpCom_RxBuf);
        delay_cnt++;
        if (delay_cnt > 50)
        {
            delay_cnt = 0;
            UartSendData(USART1, 0x0C);
            HAL_IWDG_Refresh(&hiwdg);
        }
        SysDelay_Xms(20);
        //Eeprom_Read(MAC_EAddr, (uint16_t *)Local_MAC_Addr, MAC_Data_Len + 5);
    }
}

void Aes_Key_Read(void)
{
    Eeprom_Read(KEY_StartAddr, (uint16_t *)aes_out, AesBuf_Size / 2);
    Secret_GKey_Flag = 1;
    memset(&aes_out[RsaByte_Size * 2], 0, 19);
}

void LANGroup_AddrRead(void)
{
    uint8_t temp[4] = {0};
    Eeprom_Read(GD_ADDR, (uint16_t *)temp, 4 / 2);
    memcpy(LANGroup_Addr, temp, 3);
}

void DeviceInfoInit(void)
{
    uint32_t delay_cnt = 0;

//    STMFLASH_Read(MAC_EAddr, (uint16_t *)Local_MAC_Addr, (MAC_Data_Len + 5 + 1) / 2);
//    if((Local_MAC_Addr[0] == 0x68)&&(Local_MAC_Addr[1] == 0x20))    //旧版本保存了mac地址
//    {
//        memcpy(deviceInfo.mac,&Local_MAC_Addr[3],8);
//        deviceInfo.mac_h = AESFreamHeader;
//        STMFLASH_Write(DEVICE_INFO_BASH_ADDR, (uint16_t *)&deviceInfo, (sizeof(deviceInfo)+1)/2);
//    }

    STMFLASH_Read(DEVICE_INFO_BASH_ADDR, (uint16_t *)&deviceInfo, (sizeof(deviceInfo) + 1) / 2); //读出设备信息
    if(deviceInfo.mac_h != AESFreamHeader)
    {
        memset(&deviceInfo,0,sizeof(deviceInfo));
    }

    while(deviceInfo.mac_h != AESFreamHeader)
    {
        MacFrame_Process(&UpCom_RxBuf);
        delay_cnt++;
        if (delay_cnt > 50)
        {
            delay_cnt = 0;
            UartSendData(USART1, 0x0C);
            HAL_IWDG_Refresh(&hiwdg);
        }
        SysDelay_Xms(20);
    }
}

//密文初始化
void AES_Init(void)
{
    //计算出密文，存放在aes_w，供加解密用
    memcpy(&aes_out[3 * RsaByte_Size], LANGroup_Addr, 3);

    Rsa_Decode(aes_out);
    key_expansion(aes_out, aes_w);
    Secret_KeyOk_Flag = 1;
}

/* USER CODE END 0 */

int main(void)
{
    /* USER CODE BEGIN 1 */
    //uint8_t len;
    //uint8_t mac[8]={0x03,0x00,0x01,0x02,0x03,0x04,0x05,0x06};
    //uint8_t test_temp[256]={0x69,0x69,0x14,0xEB,0x81,0x2A,0x5B,0x00,0x00,0x14,0x85,0x0F,0x00,0xAC,0x89,0x00,0x05,0x2B,0x05,0x65,0x2E,0xCC,0x96,0x96};
    /* USER CODE END 1 */

    /* MCU Configuration----------------------------------------------------------*/

    /* Reset of all peripherals, Initializes the Flash interface and the Systick. */
    HAL_Init();

    /* Configure the system clock */
    SystemClock_Config();

    /* USER CODE BEGIN SysInit */
    delay_init(72);
    /* USER CODE END SysInit */

    /* Initialize all configured peripherals */
    MX_GPIO_Init();
    MX_USART1_UART_Init();
    MX_USART2_UART_Init();
    MX_SPI1_Init();
    MX_TIM1_Init();
    MX_IWDG_Init();
    /* USER CODE BEGIN 2 */
    HAL_IWDG_Refresh(&hiwdg);
    __HAL_DBGMCU_FREEZE_IWDG();
    HAL_TIM_Base_Start_IT(&htim1);
    HAL_UART_Receive_IT(&huart1, &uart1_rec, 1);
    HAL_UART_Receive_IT(&huart2, &uart2_rec, 1);
    SN3218_Init();
    DeviceInfoInit();
    Aes_Key_Read();
    STMFLASH_Read(OLD_DEVICE_ADDR, (uint16_t *)&oldDevice, sizeof(OldDevice_t)/ 2); //+1和/2是为了2字节对齐
    if(oldDevice.num == 0xFF)
    {
        oldDevice.num = 0;
		memset(oldDevice.buff,0x00,100);
        STMFLASH_Write(OLD_DEVICE_ADDR, (uint16_t *)&oldDevice, (sizeof(OldDevice_t) + 1) / 2); //+1和/2是为了2字节对齐
    }
    LowPowerDeviceInit();
    SecretKey_Process(&deviceInfo); //计算出密文，存放在aes_w，供加解密用
    DegicePathInit();
    Get_WireLessChannel(Wireless_Channel);
    Wireless_Init();
    Si4438_Receive_Start(Wireless_Channel[0]);
    AppTaskCreate();
    //len = FrameRouterCompose(0x85,test_temp,9);
    //UartSendBytes(USART1,test_temp,len);
    //FrameRouterDataProcess(test_temp,24);

    /* USER CODE END 2 */

    /* Create the thread(s) */
    /* definition and creation of defaultTask */
//  osThreadDef(defaultTask, StartDefaultTask, osPriorityNormal, 0, 128);
//  defaultTaskHandle = osThreadCreate(osThread(defaultTask), NULL);

    /* Start scheduler */
    osKernelStart();

    /* We should never get here as control is now taken by the scheduler */

    /* Infinite loop */
    while (1)
    {

        /* USER CODE BEGIN 3 */
        //Si4438_Transmit_Start(&Wireless_Buf, Wireless_Channel[0], "wireless send test",strlen("wireless send test") );
        //delay_ms(100);
    }

    /* USER CODE END 3 */

}

void SystemClock_Config(void)
{

    RCC_OscInitTypeDef RCC_OscInitStruct;
    RCC_ClkInitTypeDef RCC_ClkInitStruct;

    /**Initializes the CPU, AHB and APB busses clocks
    */
    RCC_OscInitStruct.OscillatorType = RCC_OSCILLATORTYPE_LSI|RCC_OSCILLATORTYPE_HSE;
    RCC_OscInitStruct.HSEState = RCC_HSE_ON;
    RCC_OscInitStruct.HSEPredivValue = RCC_HSE_PREDIV_DIV1;
    RCC_OscInitStruct.HSIState = RCC_HSI_ON;
    RCC_OscInitStruct.LSIState = RCC_LSI_ON;
    RCC_OscInitStruct.PLL.PLLState = RCC_PLL_ON;
    RCC_OscInitStruct.PLL.PLLSource = RCC_PLLSOURCE_HSE;
    RCC_OscInitStruct.PLL.PLLMUL = RCC_PLL_MUL9;
    if (HAL_RCC_OscConfig(&RCC_OscInitStruct) != HAL_OK)
    {
        _Error_Handler(__FILE__, __LINE__);
    }

    /**Initializes the CPU, AHB and APB busses clocks
    */
    RCC_ClkInitStruct.ClockType = RCC_CLOCKTYPE_HCLK|RCC_CLOCKTYPE_SYSCLK
                                  |RCC_CLOCKTYPE_PCLK1|RCC_CLOCKTYPE_PCLK2;
    RCC_ClkInitStruct.SYSCLKSource = RCC_SYSCLKSOURCE_PLLCLK;
    RCC_ClkInitStruct.AHBCLKDivider = RCC_SYSCLK_DIV1;
    RCC_ClkInitStruct.APB1CLKDivider = RCC_HCLK_DIV2;
    RCC_ClkInitStruct.APB2CLKDivider = RCC_HCLK_DIV1;

    if (HAL_RCC_ClockConfig(&RCC_ClkInitStruct, FLASH_LATENCY_2) != HAL_OK)
    {
        _Error_Handler(__FILE__, __LINE__);
    }

    /**Configure the Systick interrupt time
    */
    HAL_SYSTICK_Config(HAL_RCC_GetHCLKFreq()/1000);

    /**Configure the Systick
    */
    HAL_SYSTICK_CLKSourceConfig(SYSTICK_CLKSOURCE_HCLK);

    /* SysTick_IRQn interrupt configuration */
    HAL_NVIC_SetPriority(SysTick_IRQn, 15, 0);
}

/* IWDG init function */
static void MX_IWDG_Init(void)
{

    hiwdg.Instance = IWDG;
    hiwdg.Init.Prescaler = IWDG_PRESCALER_32;
    hiwdg.Init.Reload = 4000;
    if (HAL_IWDG_Init(&hiwdg) != HAL_OK)
    {
        _Error_Handler(__FILE__, __LINE__);
    }

}

/* SPI1 init function */
static void MX_SPI1_Init(void)
{

    /* SPI1 parameter configuration*/
    hspi1.Instance = SPI1;
    hspi1.Init.Mode = SPI_MODE_MASTER;
    hspi1.Init.Direction = SPI_DIRECTION_2LINES;
    hspi1.Init.DataSize = SPI_DATASIZE_8BIT;
    hspi1.Init.CLKPolarity = SPI_POLARITY_LOW;
    hspi1.Init.CLKPhase = SPI_PHASE_1EDGE;
    hspi1.Init.NSS = SPI_NSS_SOFT;
    hspi1.Init.BaudRatePrescaler = SPI_BAUDRATEPRESCALER_32;
    hspi1.Init.FirstBit = SPI_FIRSTBIT_MSB;
    hspi1.Init.TIMode = SPI_TIMODE_DISABLE;
    hspi1.Init.CRCCalculation = SPI_CRCCALCULATION_DISABLE;
    hspi1.Init.CRCPolynomial = 10;
    if (HAL_SPI_Init(&hspi1) != HAL_OK)
    {
        _Error_Handler(__FILE__, __LINE__);
    }

}

/* TIM1 init function */
static void MX_TIM1_Init(void)
{

    TIM_ClockConfigTypeDef sClockSourceConfig;
    TIM_MasterConfigTypeDef sMasterConfig;

    htim1.Instance = TIM1;
    htim1.Init.Prescaler = 72-1;
    htim1.Init.CounterMode = TIM_COUNTERMODE_UP;
    htim1.Init.Period = 1000-1;
    htim1.Init.ClockDivision = TIM_CLOCKDIVISION_DIV1;
    htim1.Init.RepetitionCounter = 0;
    htim1.Init.AutoReloadPreload = TIM_AUTORELOAD_PRELOAD_DISABLE;
    if (HAL_TIM_Base_Init(&htim1) != HAL_OK)
    {
        _Error_Handler(__FILE__, __LINE__);
    }

    sClockSourceConfig.ClockSource = TIM_CLOCKSOURCE_INTERNAL;
    if (HAL_TIM_ConfigClockSource(&htim1, &sClockSourceConfig) != HAL_OK)
    {
        _Error_Handler(__FILE__, __LINE__);
    }

    sMasterConfig.MasterOutputTrigger = TIM_TRGO_RESET;
    sMasterConfig.MasterSlaveMode = TIM_MASTERSLAVEMODE_DISABLE;
    if (HAL_TIMEx_MasterConfigSynchronization(&htim1, &sMasterConfig) != HAL_OK)
    {
        _Error_Handler(__FILE__, __LINE__);
    }

}

/* USART1 init function */
static void MX_USART1_UART_Init(void)
{

    huart1.Instance = USART1;
    huart1.Init.BaudRate = 38400;
    huart1.Init.WordLength = UART_WORDLENGTH_8B;
    huart1.Init.StopBits = UART_STOPBITS_1;
    huart1.Init.Parity = UART_PARITY_NONE;
    huart1.Init.Mode = UART_MODE_TX_RX;
    huart1.Init.HwFlowCtl = UART_HWCONTROL_NONE;
    huart1.Init.OverSampling = UART_OVERSAMPLING_16;
    if (HAL_UART_Init(&huart1) != HAL_OK)
    {
        _Error_Handler(__FILE__, __LINE__);
    }

}

/* USART2 init function */
static void MX_USART2_UART_Init(void)
{

    huart2.Instance = USART2;
    huart2.Init.BaudRate = 115200;
    huart2.Init.WordLength = UART_WORDLENGTH_8B;
    huart2.Init.StopBits = UART_STOPBITS_1;
    huart2.Init.Parity = UART_PARITY_NONE;
    huart2.Init.Mode = UART_MODE_TX_RX;
    huart2.Init.HwFlowCtl = UART_HWCONTROL_NONE;
    huart2.Init.OverSampling = UART_OVERSAMPLING_16;
    if (HAL_UART_Init(&huart2) != HAL_OK)
    {
        _Error_Handler(__FILE__, __LINE__);
    }

}

/** Configure pins as
        * Analog
        * Input
        * Output
        * EVENT_OUT
        * EXTI
*/
static void MX_GPIO_Init(void)
{

    GPIO_InitTypeDef GPIO_InitStruct;

    /* GPIO Ports Clock Enable */
    __HAL_RCC_GPIOC_CLK_ENABLE();
    __HAL_RCC_GPIOD_CLK_ENABLE();
    __HAL_RCC_GPIOA_CLK_ENABLE();
    __HAL_RCC_GPIOB_CLK_ENABLE();

    /*Configure GPIO pin Output Level */
    HAL_GPIO_WritePin(GPIOA, LEDG_Pin|LEDR_Pin|SI4438_SDN_Pin|SI4438_NSS_Pin, GPIO_PIN_RESET);

    /*Configure GPIO pin Output Level */
    HAL_GPIO_WritePin(GPIOB, SI4438_RX_Pin|SI4438_TX_Pin|LED_SN3218A_SDB_Pin|LED_SN3218A_SDA_Pin
                      |LED_SN3218A_SCL_Pin, GPIO_PIN_RESET);

    /*Configure GPIO pins : TOUCH2_Pin TOUCH4_Pin TOUCH1_Pin */
    GPIO_InitStruct.Pin = TOUCH2_Pin|TOUCH4_Pin|TOUCH1_Pin;
    GPIO_InitStruct.Mode = GPIO_MODE_INPUT;
    GPIO_InitStruct.Pull = GPIO_NOPULL;
    HAL_GPIO_Init(GPIOC, &GPIO_InitStruct);

    /*Configure GPIO pins : LEDG_Pin LEDR_Pin SI4438_SDN_Pin SI4438_NSS_Pin */
    GPIO_InitStruct.Pin = LEDG_Pin|LEDR_Pin|SI4438_SDN_Pin|SI4438_NSS_Pin;
    GPIO_InitStruct.Mode = GPIO_MODE_OUTPUT_PP;
    GPIO_InitStruct.Pull = GPIO_NOPULL;
    GPIO_InitStruct.Speed = GPIO_SPEED_FREQ_LOW;
    HAL_GPIO_Init(GPIOA, &GPIO_InitStruct);

    /*Configure GPIO pins : SI4438_RX_Pin SI4438_TX_Pin */
    GPIO_InitStruct.Pin = SI4438_RX_Pin|SI4438_TX_Pin;
    GPIO_InitStruct.Mode = GPIO_MODE_OUTPUT_PP;
    GPIO_InitStruct.Pull = GPIO_NOPULL;
    GPIO_InitStruct.Speed = GPIO_SPEED_FREQ_LOW;
    HAL_GPIO_Init(GPIOB, &GPIO_InitStruct);

    /*Configure GPIO pin : SI4438_nIRQ_Pin */
    GPIO_InitStruct.Pin = SI4438_nIRQ_Pin;
    GPIO_InitStruct.Mode = GPIO_MODE_IT_FALLING;
    GPIO_InitStruct.Pull = GPIO_NOPULL;
    HAL_GPIO_Init(SI4438_nIRQ_GPIO_Port, &GPIO_InitStruct);

    /*Configure GPIO pin : TOUCH3_Pin */
    GPIO_InitStruct.Pin = TOUCH3_Pin;
    GPIO_InitStruct.Mode = GPIO_MODE_INPUT;
    GPIO_InitStruct.Pull = GPIO_NOPULL;
    HAL_GPIO_Init(TOUCH3_GPIO_Port, &GPIO_InitStruct);

    /*Configure GPIO pins : LED_SN3218A_SDB_Pin LED_SN3218A_SDA_Pin LED_SN3218A_SCL_Pin */
    GPIO_InitStruct.Pin = LED_SN3218A_SDB_Pin|LED_SN3218A_SDA_Pin|LED_SN3218A_SCL_Pin;
    GPIO_InitStruct.Mode = GPIO_MODE_OUTPUT_PP;
    GPIO_InitStruct.Pull = GPIO_NOPULL;
    GPIO_InitStruct.Speed = GPIO_SPEED_FREQ_HIGH;
    HAL_GPIO_Init(GPIOB, &GPIO_InitStruct);

    /* EXTI interrupt init*/
    HAL_NVIC_SetPriority(EXTI15_10_IRQn, 6, 0);
    HAL_NVIC_EnableIRQ(EXTI15_10_IRQn);

}

/* StartDefaultTask function */
void StartDefaultTask(void const * argument)
{

    for (;;)
    {
        osDelay(1);
    }
}

void _Error_Handler(char *file, int line)
{
    while (1)
    {
    }
}

/************************ (C) COPYRIGHT STMicroelectronics *****END OF FILE****/
